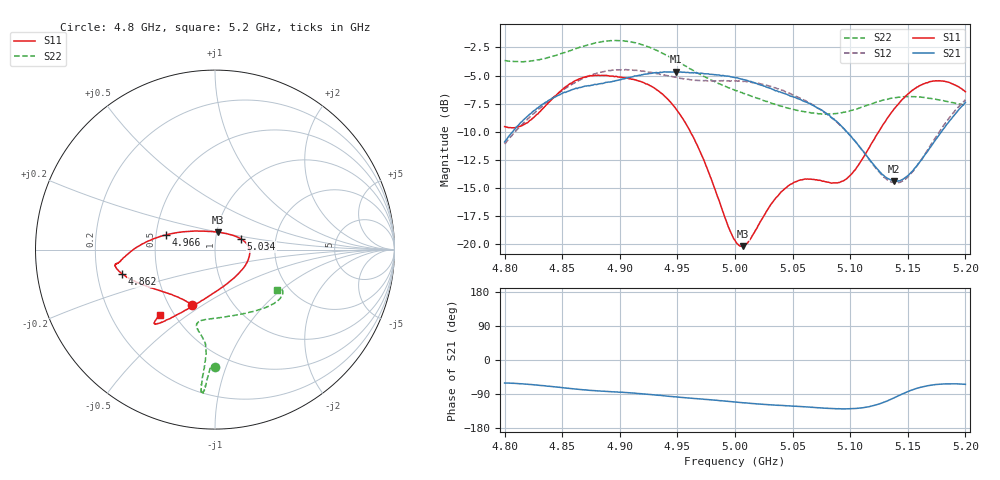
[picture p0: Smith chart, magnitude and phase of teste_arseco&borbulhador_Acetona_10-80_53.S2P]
! Network Analyzer HP8722D
! Hewlett-Packard
! Data name: Linha & Wilkinson
! Saver's name: Rodrigo Anjos
! Comments: Teste da utilização de aquisição
! continua pelo VNA HP8722D
! Time and date: 17/4/2025 14:48
!  Frequency  S11  S21  S12  S22
# HZ  S  MA R 50
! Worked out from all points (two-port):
!   401 points, 4.8 GHz to 5.2 GHz, reference 50 ohm
!   highest |S21| = -4.66 dB at 4.949 GHz (marker M1); lowest = -14.4 dB at 5.138 GHz (marker M2)
!   |S21| within 3 dB of the highest: 4.831 GHz to 5.068 GHz (236.4 MHz wide, 4.78 % of centre); 5.197637 GHz to end of sweep
!   lowest |S11| = -20.2 dB at 5.007 GHz (marker M3), VSWR 1.22, Z = 50.9 + j9.91 ohm
!   |S11| at or under -10 dB: 4.961 GHz to 5.125 GHz (163.4 MHz wide, 3.24 % of centre)
!   |S22| runs from -8.4 to -1.9 dB; largest |S21 - S12| = 0.87
!   S11 on the Smith chart (normalised r, x): 4.8 GHz: 0.65, -0.45; 4.862 GHz: 0.31, -0.12; 4.966 GHz: 0.57, +0.10; 5.034 GHz: 1.33, +0.16; 5.2 GHz: 0.42, -0.39
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4.8e9  0.3335 -113.0  0.2851 -60.7  0.2791 -174.9  0.6556 -89.8
4.819e9  0.3459 -132.9  0.3676 -63.8  0.3556 -173.4  0.6501 -91.5
4.862e9  0.5354 -165.4  0.4943 -76.8  0.5276 -176.6  0.7407 -93.7
4.867e9  0.548 -167.3  0.4994 -78.2  0.5433 -177.4  0.7557 -93.8
4.902e9  0.5514 -172.0  0.5424 -85.2  0.5969 175.2  0.802 -95.3
4.934e9  0.4782 -177.8  0.5788 -93.3  0.5733 172.0  0.7171 -95.7
4.949e9  0.3981 175.0  0.5848 -97.2  0.5521 172.3  0.655 -95.2
4.966e9  0.2833 163.1  0.5772 -101.9  0.5352 173.9  0.5822 -94.9
5e9  0.1043 103.3  0.5499 -110.8  0.5323 176.4  0.4832 -99.1
5.007e9  0.09814 79.3  0.5398 -112.8  0.5294 176.4  0.4684 -100.7
5.034e9  0.1573 22.4  0.4853 -118.9  0.4969 175.0  0.4206 -103.4
5.05e9  0.1865 5.7  0.4536 -121.8  0.4617 174.2  0.399 -99.7
5.067e9  0.1943 -12.3  0.4163 -124.8  0.4185 173.8  0.3835 -90.9
5.086e9  0.1875 -42.4  0.3601 -128.2  0.3579 173.8  0.3808 -76.6
5.097e9  0.1957 -65.1  0.3165 -128.9  0.3155 174.7  0.3887 -67.6
5.107e9  0.2243 -84.7  0.2761 -127.3  0.2762 176.9  0.4021 -59.5
5.134e9  0.3735 -115.9  0.1945 -105.5  0.1908 -158.4  0.4438 -42.9
5.138e9  0.399 -118.2  0.1906 -99.9  0.1877 -152.1  0.4472 -41.1
5.151e9  0.4693 -124.0  0.2038 -82.2  0.202 -131.8  0.4533 -36.3
5.17e9  0.5289 -128.5  0.2714 -66.5  0.277 -112.7  0.4449 -31.9
5.184e9  0.5269 -129.8  0.3422 -62.9  0.3537 -107.1  0.4314 -30.8
5.2e9  0.4762 -130.2  0.4272 -64.2  0.4391 -106.2  0.4149 -33.1
